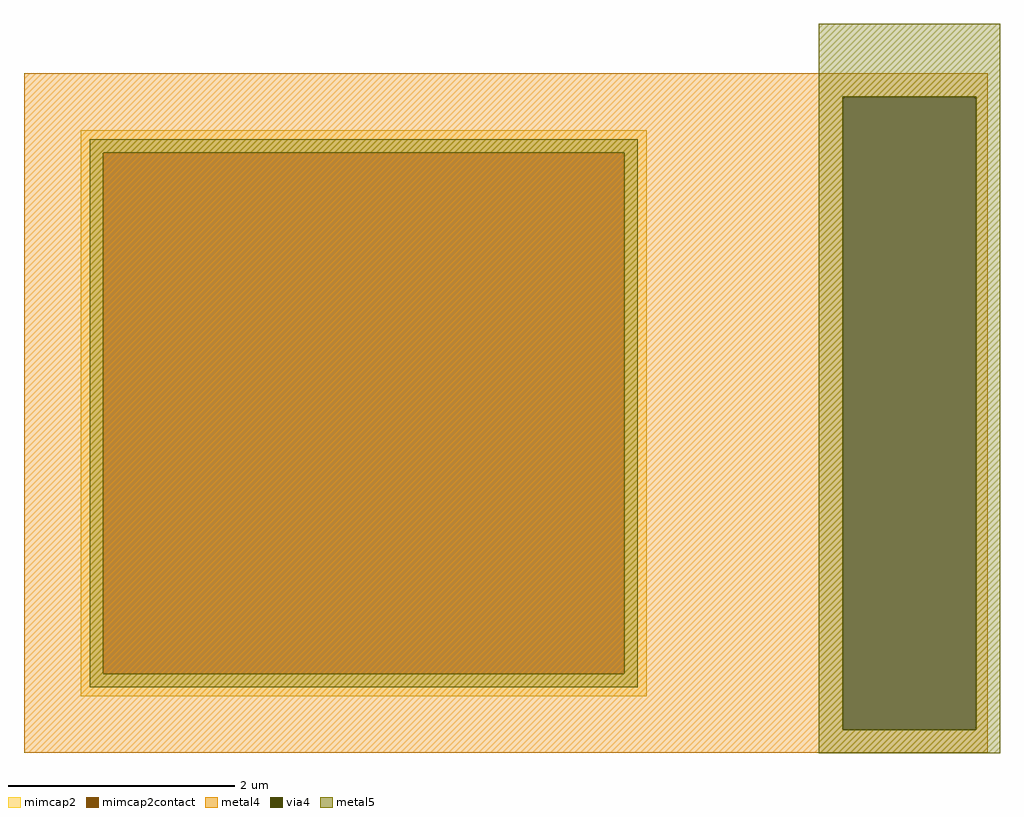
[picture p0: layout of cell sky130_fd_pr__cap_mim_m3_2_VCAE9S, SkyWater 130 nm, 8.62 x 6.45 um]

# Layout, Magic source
magic
tech sky130A
magscale 1 2
<< metal4 >>
rect -851 559 851 600
rect -851 -559 595 559
rect 831 -559 851 559
rect -851 -600 851 -559
<< via4 >>
rect 595 -559 831 559
<< mimcap2 >>
rect -751 460 249 500
rect -751 -460 -711 460
rect 209 -460 249 460
rect -751 -500 249 -460
<< mimcap2contact >>
rect -711 -460 209 460
<< metal5 >>
rect 553 559 873 688
rect -735 460 233 484
rect -735 -460 -711 460
rect 209 -460 233 460
rect -735 -484 233 -460
rect 553 -559 595 559
rect 831 -559 873 559
rect 553 -601 873 -559
<< properties >>
string FIXED_BBOX -851 -600 349 600
string gencell sky130_fd_pr__cap_mim_m3_2
string library sky130
string parameters w 5.0 l 5.0 val 53.8 carea 2.00 cperi 0.19 nx 1 ny 1 dummy 0 square 0 lmin 2.00 wmin 2.00 lmax 30.0 wmax 30.0 dc 0 bconnect 0 tconnect 1 ccov 100
<< end >>
